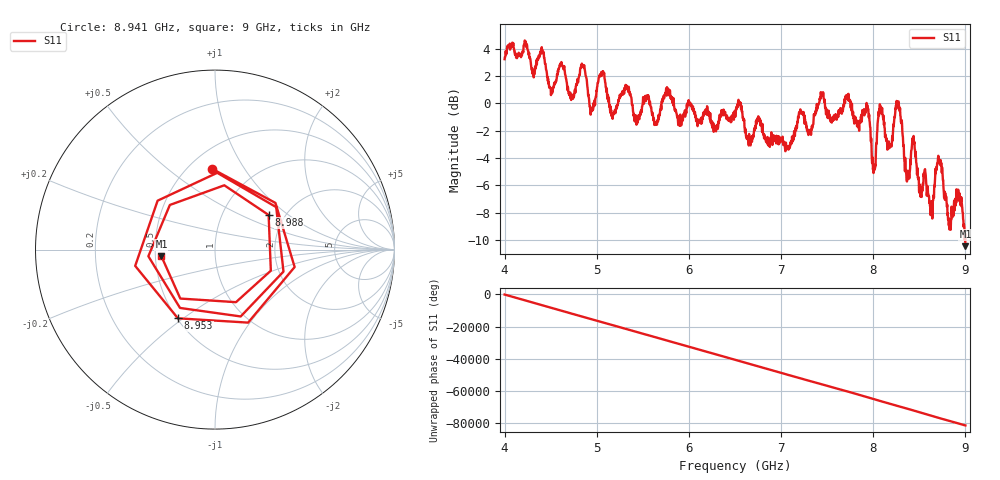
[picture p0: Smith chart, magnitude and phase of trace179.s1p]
! Created with skrf 1.8.0 (http://scikit-rf.org).
# Hz S RI R 50.0
!freq ReS11 ImS11
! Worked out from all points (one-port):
!   1601 points, 4 GHz to 9 GHz, reference 50 ohm
!   lowest |S11| = -10.4 dB at 9 GHz (marker M1), VSWR 1.86, Z = 27 - j2.23 ohm
!   |S11| at or under -10 dB: 8.993846 GHz to 8.99414 GHz (294.4 kHz wide, 0.00327 % of centre); 8.998573 GHz to end of sweep
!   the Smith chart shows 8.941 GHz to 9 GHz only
!   S11 on the Smith chart (normalised r, x): 8.941 GHz: 0.64, +0.73; 8.953 GHz: 0.51, -0.48; 8.988 GHz: 1.65, +0.73; 9 GHz: 0.54, -0.04
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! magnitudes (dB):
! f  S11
! 4 GHz  3.2
! 4.406 GHz  3.9
! 4.509 GHz  1.1
! 4.625 GHz  2.8
! 4.728 GHz  0.3
! 4.85 GHz  2.7
! 4.944 GHz  -0.4
! 5.056 GHz  2.3
! 5.162 GHz  -0.9
! 5.25 GHz  0.6
! 5.875 GHz  -1.0
! 6.5 GHz  -0.6
! 7.125 GHz  -2.8
! 7.75 GHz  0.2
! 7.938 GHz  -0.2
! 8.006 GHz  -4.7
! 8.072 GHz  -0.1
! 8.178 GHz  -3.3
! 8.266 GHz  0.1
! 8.375 GHz  -4.9
! 8.438 GHz  -2.4
! 8.625 GHz  -7.8
! 8.716 GHz  -4.1
! 8.822 GHz  -8.9
! 8.941 GHz  -6.9
! 8.953 GHz  -7.2
! 8.988 GHz  -9.0
! 9 GHz  -10.4
